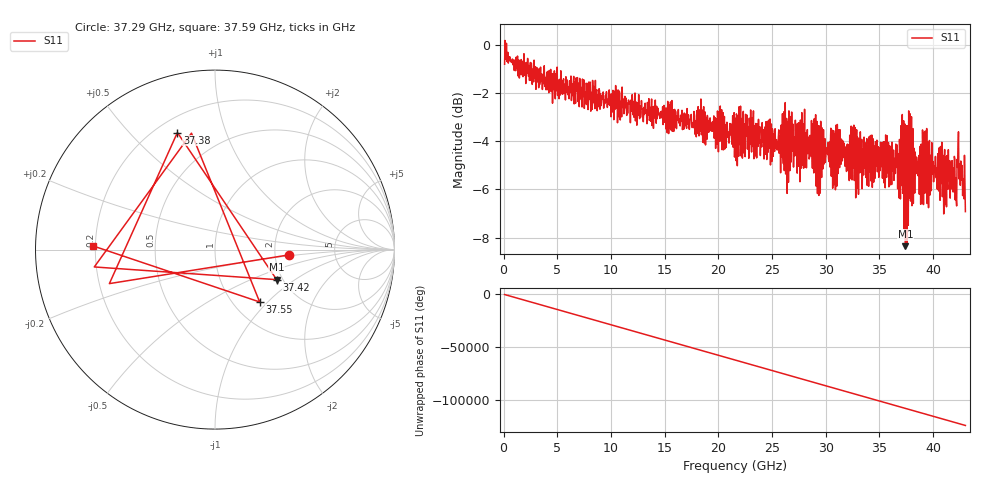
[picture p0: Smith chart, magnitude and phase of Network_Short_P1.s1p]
# Hz S RI R 50.000000
! Metas.Vna.Tools, 2.9.9438.25149
! Metas.Vna.Data, 2.9.9438.25100
! Created: UTC 2026.07.01 05:48:35
! FREQ  re:S1,1  im:S1,1
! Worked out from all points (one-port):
!   1001 points, 100 MHz to 43 GHz, reference 50 ohm
!   lowest |S11| = -8.4 dB at 37.42 GHz (marker M1), VSWR 2.24, Z = 93 - j36.5 ohm
!   |S11| at or under -10 dB: nowhere
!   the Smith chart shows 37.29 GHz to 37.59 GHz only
!   S11 on the Smith chart (normalised r, x): 37.29 GHz: 2.41, -0.17; 37.38 GHz: 0.28, +0.69; 37.42 GHz: 1.86, -0.73; 37.55 GHz: 1.31, -0.90; 37.59 GHz: 0.19, +0.01
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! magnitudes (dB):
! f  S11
! 100 MHz  -0.8
! 5.463 GHz  -1.5
! 10.82 GHz  -2.0
! 16.19 GHz  -3.1
! 21.55 GHz  -3.6
! 23.09 GHz  -4.4
! 25.33 GHz  -4.3
! 26.91 GHz  -3.9
! 28.03 GHz  -2.7
! 28.2 GHz  -5.1
! 28.29 GHz  -3.5
! 28.46 GHz  -4.7
! 29.57 GHz  -4.3
! 30.9 GHz  -6.0
! 32.27 GHz  -4.4
! 37.29 GHz  -7.6
! 37.38 GHz  -3.3
! 37.42 GHz  -8.4
! 37.47 GHz  -3.4
! 37.55 GHz  -8.3
! 37.59 GHz  -3.4
! 37.64 GHz  -4.9
! 37.94 GHz  -5.0
! 38.5 GHz  -5.0
! 39.83 GHz  -6.0
! 41.97 GHz  -4.6
! 42.44 GHz  -4.9
! 43 GHz  -6.9
